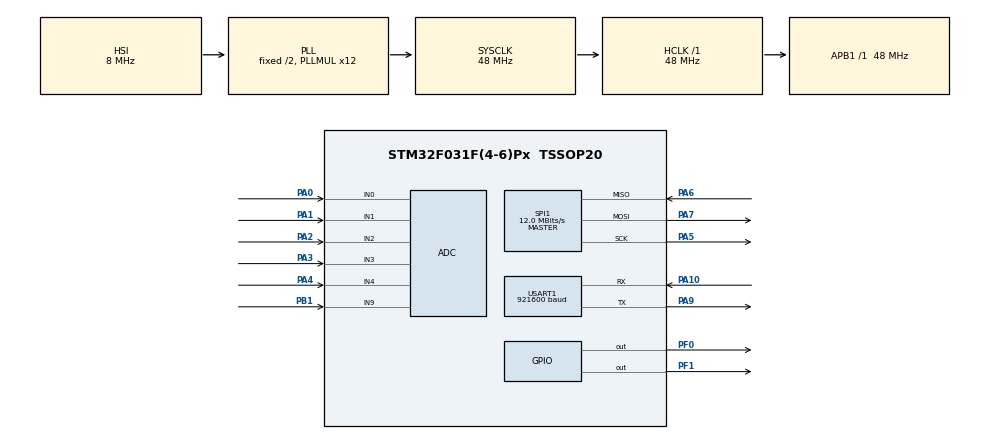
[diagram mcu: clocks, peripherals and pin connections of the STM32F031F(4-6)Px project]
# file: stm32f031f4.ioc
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ADC.ClockPrescaler=ADC_CLOCK_ASYNC
ADC.ContinuousConvMode=ENABLE
ADC.DMAContinuousRequests=ENABLE
ADC.DataAlign=ADC_DATAALIGN_RIGHT
ADC.DiscontinuousConvMode=DISABLE
ADC.EOCSelection=EOC_SINGLE_CONV
ADC.EnableAnalogWatchDog=false
ADC.ExternalTrigConvEdge=ADC_EXTERNALTRIGCONVEDGE_NONE
ADC.LowPowerAutoPowerOff=DISABLE
ADC.LowPowerAutoWait=DISABLE
ADC.Overrun=OVR_DATA_PRESERVED
ADC.Resolution=ADC_RESOLUTION12b
ADC.SamplingTime=ADC_SAMPLETIME_1CYCLE_5
ADC.ScanConvMode=ADC_SCAN_DIRECTION_FORWARD
Dma.ADC.2.Direction=DMA_PERIPH_TO_MEMORY
Dma.ADC.2.Instance=DMA1_Channel1
Dma.ADC.2.MemDataAlignment=DMA_MDATAALIGN_HALFWORD
Dma.ADC.2.MemInc=DMA_MINC_ENABLE
Dma.ADC.2.Mode=DMA_NORMAL
Dma.ADC.2.PeriphDataAlignment=DMA_PDATAALIGN_HALFWORD
Dma.ADC.2.PeriphInc=DMA_PINC_DISABLE
Dma.ADC.2.Priority=DMA_PRIORITY_LOW
Dma.Request0=SPI1_TX
Dma.Request1=USART1_TX
Dma.Request2=ADC
Dma.SPI1_TX.0.Direction=DMA_MEMORY_TO_PERIPH
Dma.SPI1_TX.0.Instance=DMA1_Channel3
Dma.SPI1_TX.0.MemDataAlignment=DMA_MDATAALIGN_BYTE
Dma.SPI1_TX.0.MemInc=DMA_MINC_ENABLE
Dma.SPI1_TX.0.Mode=DMA_NORMAL
Dma.SPI1_TX.0.PeriphDataAlignment=DMA_PDATAALIGN_BYTE
Dma.SPI1_TX.0.PeriphInc=DMA_PINC_DISABLE
Dma.SPI1_TX.0.Priority=DMA_PRIORITY_LOW
Dma.USART1_TX.1.Direction=DMA_MEMORY_TO_PERIPH
Dma.USART1_TX.1.Instance=DMA1_Channel2
Dma.USART1_TX.1.MemDataAlignment=DMA_MDATAALIGN_BYTE
Dma.USART1_TX.1.MemInc=DMA_MINC_ENABLE
Dma.USART1_TX.1.Mode=DMA_NORMAL
Dma.USART1_TX.1.PeriphDataAlignment=DMA_PDATAALIGN_BYTE
Dma.USART1_TX.1.PeriphInc=DMA_PINC_DISABLE
Dma.USART1_TX.1.Priority=DMA_PRIORITY_LOW
Mcu.Family=STM32F0
Mcu.Name=STM32F031F(4-6)Px
Mcu.Package=TSSOP20
NVIC.DMA1_Channel1_IRQn=true\:0\:0\:false
NVIC.DMA1_Channel2_3_IRQn=true\:0\:0\:false
PA0.Mode=IN0
PA0.Signal=ADC_IN0
PA1.Mode=IN1
PA1.Signal=ADC_IN1
PA10.Mode=Asynchronous
PA10.Signal=USART1_RX
PA13.Mode=Serial-WireDebug
PA13.Signal=SYS_SWDIO
PA14.Mode=Serial-WireDebug
PA14.Signal=SYS_SWCLK
PA2.Mode=IN2
PA2.Signal=ADC_IN2
PA3.Mode=IN3
PA3.Signal=ADC_IN3
PA4.Mode=IN4
PA4.Signal=ADC_IN4
PA5.Mode=Full_Duplex_Master
PA5.Signal=SPI1_SCK
PA6.Mode=Full_Duplex_Master
PA6.Signal=SPI1_MISO
PA7.Mode=Full_Duplex_Master
PA7.Signal=SPI1_MOSI
PA9.Mode=Asynchronous
PA9.Signal=USART1_TX
PB1.Mode=IN9
PB1.Signal=ADC_IN9
PF0-OSC_IN.Signal=GPIO_Output
PF1-OSC_OUT.Signal=GPIO_Output
ProjectManager.HeapSize=0x400
ProjectManager.StackSize=0x200
ProjectManager.TargetToolchain=SW4STM32
RCC.AHBFreq_Value=48000000
RCC.APB1Freq_Value=48000000
RCC.APB1TimFreq_Value=48000000
RCC.HCLKFreq_Value=48000000
RCC.PLLMUL=RCC_PLL_MUL12
RCC.SYSCLKFreq_VALUE=48000000
RCC.SYSCLKSource=RCC_SYSCLKSOURCE_PLLCLK
SPI1.BaudRatePrescaler=SPI_BAUDRATEPRESCALER_4
SPI1.CalculateBaudRate=12.0 MBits/s
SPI1.DataSize=SPI_DATASIZE_8BIT
SPI1.Mode=SPI_MODE_MASTER
USART1.BaudRate=921600
VP_ADC_TempSens_Input.Mode=IN-TempSens
VP_ADC_Vbat_Input.Mode=IN-Vbat
VP_ADC_Vref_Input.Mode=IN-Vrefint
board=stm32f031f4

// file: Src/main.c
/**
  ******************************************************************************
  * File Name          : main.c
  * Description        : Main program body
  ******************************************************************************
  *
  * COPYRIGHT(c) 2016 STMicroelectronics
  *
  * Redistribution and use in source and binary forms, with or without modification,
  * are permitted provided that the following conditions are met:
  *   1. Redistributions of source code must retain the above copyright notice,
  *      this list of conditions and the following disclaimer.
  *   2. Redistributions in binary form must reproduce the above copyright notice,
  *      this list of conditions and the following disclaimer in the documentation
  *      and/or other materials provided with the distribution.
  *   3. Neither the name of STMicroelectronics nor the names of its contributors
  *      may be used to endorse or promote products derived from this software
  *      without specific prior written permission.
  *
  * THIS SOFTWARE IS PROVIDED BY THE COPYRIGHT HOLDERS AND CONTRIBUTORS "AS IS"
  * AND ANY EXPRESS OR IMPLIED WARRANTIES, INCLUDING, BUT NOT LIMITED TO, THE
  * IMPLIED WARRANTIES OF MERCHANTABILITY AND FITNESS FOR A PARTICULAR PURPOSE ARE
  * DISCLAIMED. IN NO EVENT SHALL THE COPYRIGHT HOLDER OR CONTRIBUTORS BE LIABLE
  * FOR ANY DIRECT, INDIRECT, INCIDENTAL, SPECIAL, EXEMPLARY, OR CONSEQUENTIAL
  * DAMAGES (INCLUDING, BUT NOT LIMITED TO, PROCUREMENT OF SUBSTITUTE GOODS OR
  * SERVICES; LOSS OF USE, DATA, OR PROFITS; OR BUSINESS INTERRUPTION) HOWEVER
  * CAUSED AND ON ANY THEORY OF LIABILITY, WHETHER IN CONTRACT, STRICT LIABILITY,
  * OR TORT (INCLUDING NEGLIGENCE OR OTHERWISE) ARISING IN ANY WAY OUT OF THE USE
  * OF THIS SOFTWARE, EVEN IF ADVISED OF THE POSSIBILITY OF SUCH DAMAGE.
  *
  ******************************************************************************
  */
#include "stm32f0xx_hal.h"

/* USER CODE BEGIN Includes */

#define LEDS_COUNT 40
#define BITS_PER_SUBCOLOR 8
#define BITS_PER_COLOR (BITS_PER_SUBCOLOR*3)

/* USER CODE END Includes */

ADC_HandleTypeDef hadc;
DMA_HandleTypeDef hdma_adc;

SPI_HandleTypeDef hspi1;
DMA_HandleTypeDef hdma_spi1_tx;

UART_HandleTypeDef huart1;
DMA_HandleTypeDef hdma_usart1_tx;

/* USER CODE BEGIN PV */
/* Private variables ---------------------------------------------------------*/

/* USER CODE END PV */

void SystemClock_Config(void);
static void MX_GPIO_Init(void);
static void MX_DMA_Init(void);
static void MX_ADC_Init(void);
static void MX_SPI1_Init(void);
static void MX_USART1_UART_Init(void);

/* USER CODE BEGIN PFP */
/* Private function prototypes -----------------------------------------------*/

// Set only one subcolor
void gen_cmd_setc(uint8_t *buf, char c)
{
	uint8_t  b = 1;
	uint8_t *p = &buf[BITS_PER_SUBCOLOR-1];
	while (b) {
		*p = c&b ? 14 : 8;	// 2016-07-05: DYOkunev: Why "14" and "8"? I have no idea! Ask AMGladtsin ;)
					// 2016-07-06: AMGlatsin: 14 and 8 (0b1110 (---_) and 0b1000 (-___) ) - to generate "Diode bits" - connect logger analyzer and read the manual for WS2812B :P
		p--;
		b <<= 1;
	}
	return;
}

// Sets three subcolors to buf
void gen_cmd_setrgb(uint8_t *buf, char r, char g, char b)
{
	gen_cmd_setc( buf,                      r);
	gen_cmd_setc(&buf[  BITS_PER_SUBCOLOR], g);
	gen_cmd_setc(&buf[2*BITS_PER_SUBCOLOR], b);
	return;
}

/* USER CODE END PFP */

int main(void)
{

  /* MCU Configuration----------------------------------------------------------*/

  /* Reset of all peripherals, Initializes the Flash interface and the Systick. */
  HAL_Init();

  /* Configure the system clock */
  SystemClock_Config();

  /* Initialize all configured peripherals */
  MX_GPIO_Init();
  MX_DMA_Init();
  MX_ADC_Init();
  MX_SPI1_Init();
  MX_USART1_UART_Init();

  /* Infinite loop */
  /* USER CODE BEGIN WHILE */
	uint8_t cmd[LEDS_COUNT][BITS_PER_COLOR];

	while (1)
	{
		int r = HAL_SPI_Transmit_DMA(&hspi1, (uint8_t *)cmd, sizeof(cmd));
		if (r != HAL_OK) {
			// TODO: process error
		}
	}

  /* USER CODE END WHILE */

}

/** System Clock Configuration
*/
void SystemClock_Config(void)
{

  RCC_OscInitTypeDef RCC_OscInitStruct;
  RCC_ClkInitTypeDef RCC_ClkInitStruct;
  RCC_PeriphCLKInitTypeDef PeriphClkInit;

  RCC_OscInitStruct.OscillatorType = RCC_OSCILLATORTYPE_HSI|RCC_OSCILLATORTYPE_HSI14;
  RCC_OscInitStruct.HSIState = RCC_HSI_ON;
  RCC_OscInitStruct.HSI14State = RCC_HSI14_ON;
  RCC_OscInitStruct.HSICalibrationValue = 16;
  RCC_OscInitStruct.HSI14CalibrationValue = 16;
  RCC_OscInitStruct.PLL.PLLState = RCC_PLL_ON;
  RCC_OscInitStruct.PLL.PLLSource = RCC_PLLSOURCE_HSI;
  RCC_OscInitStruct.PLL.PLLMUL = RCC_PLL_MUL12;
  RCC_OscInitStruct.PLL.PREDIV = RCC_PREDIV_DIV1;
  HAL_RCC_OscConfig(&RCC_OscInitStruct);

  RCC_ClkInitStruct.ClockType = RCC_CLOCKTYPE_HCLK|RCC_CLOCKTYPE_SYSCLK
                              |RCC_CLOCKTYPE_PCLK1;
  RCC_ClkInitStruct.SYSCLKSource = RCC_SYSCLKSOURCE_PLLCLK;
  RCC_ClkInitStruct.AHBCLKDivider = RCC_SYSCLK_DIV1;
  RCC_ClkInitStruct.APB1CLKDivider = RCC_HCLK_DIV1;
  HAL_RCC_ClockConfig(&RCC_ClkInitStruct, FLASH_LATENCY_1);

  PeriphClkInit.PeriphClockSelection = RCC_PERIPHCLK_USART1;
  PeriphClkInit.Usart1ClockSelection = RCC_USART1CLKSOURCE_PCLK1;
  HAL_RCCEx_PeriphCLKConfig(&PeriphClkInit);

  HAL_SYSTICK_Config(HAL_RCC_GetHCLKFreq()/1000);

  HAL_SYSTICK_CLKSourceConfig(SYSTICK_CLKSOURCE_HCLK);

  /* SysTick_IRQn interrupt configuration */
  HAL_NVIC_SetPriority(SysTick_IRQn, 0, 0);
}

/* ADC init function */
void MX_ADC_Init(void)
{

  ADC_ChannelConfTypeDef sConfig;

    /**Configure the global features of the ADC (Clock, Resolution, Data Alignment and number of conversion)
    */
  hadc.Instance = ADC1;
  hadc.Init.ClockPrescaler = ADC_CLOCK_ASYNC;
  hadc.Init.Resolution = ADC_RESOLUTION12b;
  hadc.Init.DataAlign = ADC_DATAALIGN_RIGHT;
  hadc.Init.ScanConvMode = ADC_SCAN_DIRECTION_FORWARD;
  hadc.Init.EOCSelection = EOC_SINGLE_CONV;
  hadc.Init.LowPowerAutoWait = DISABLE;
  hadc.Init.LowPowerAutoPowerOff = DISABLE;
  hadc.Init.ContinuousConvMode = ENABLE;
  hadc.Init.DiscontinuousConvMode = DISABLE;
  hadc.Init.ExternalTrigConvEdge = ADC_EXTERNALTRIGCONVEDGE_NONE;
  hadc.Init.DMAContinuousRequests = ENABLE;
  hadc.Init.Overrun = OVR_DATA_PRESERVED;
  HAL_ADC_Init(&hadc);

    /**Configure for the selected ADC regular channel to be converted.
    */
  sConfig.Channel = ADC_CHANNEL_0;
  sConfig.Rank = ADC_RANK_CHANNEL_NUMBER;
  sConfig.SamplingTime = ADC_SAMPLETIME_1CYCLE_5;
  HAL_ADC_ConfigChannel(&hadc, &sConfig);

    /**Configure for the selected ADC regular channel to be converted.
    */
  sConfig.Channel = ADC_CHANNEL_1;
  HAL_ADC_ConfigChannel(&hadc, &sConfig);

    /**Configure for the selected ADC regular channel to be converted.
    */
  sConfig.Channel = ADC_CHANNEL_2;
  HAL_ADC_ConfigChannel(&hadc, &sConfig);

    /**Configure for the selected ADC regular channel to be converted.
    */
  sConfig.Channel = ADC_CHANNEL_3;
  HAL_ADC_ConfigChannel(&hadc, &sConfig);

    /**Configure for the selected ADC regular channel to be converted.
    */
  sConfig.Channel = ADC_CHANNEL_4;
  HAL_ADC_ConfigChannel(&hadc, &sConfig);

    /**Configure for the selected ADC regular channel to be converted.
    */
  sConfig.Channel = ADC_CHANNEL_9;
  HAL_ADC_ConfigChannel(&hadc, &sConfig);

    /**Configure for the selected ADC regular channel to be converted.
    */
  sConfig.Channel = ADC_CHANNEL_TEMPSENSOR;
  HAL_ADC_ConfigChannel(&hadc, &sConfig);

    /**Configure for the selected ADC regular channel to be converted.
    */
  sConfig.Channel = ADC_CHANNEL_VREFINT;
  HAL_ADC_ConfigChannel(&hadc, &sConfig);

    /**Configure for the selected ADC regular channel to be converted.
    */
  sConfig.Channel = ADC_CHANNEL_VBAT;
  HAL_ADC_ConfigChannel(&hadc, &sConfig);

}

/* SPI1 init function */
void MX_SPI1_Init(void)
{

  hspi1.Instance = SPI1;
  hspi1.Init.Mode = SPI_MODE_MASTER;
  hspi1.Init.Direction = SPI_DIRECTION_2LINES;
  hspi1.Init.DataSize = SPI_DATASIZE_8BIT;
  hspi1.Init.CLKPolarity = SPI_POLARITY_LOW;
  hspi1.Init.CLKPhase = SPI_PHASE_1EDGE;
  hspi1.Init.NSS = SPI_NSS_SOFT;
  hspi1.Init.BaudRatePrescaler = SPI_BAUDRATEPRESCALER_4;
  hspi1.Init.FirstBit = SPI_FIRSTBIT_MSB;
  hspi1.Init.TIMode = SPI_TIMODE_DISABLED;
  hspi1.Init.CRCCalculation = SPI_CRCCALCULATION_DISABLED;
  hspi1.Init.CRCPolynomial = 7;
  hspi1.Init.CRCLength = SPI_CRC_LENGTH_DATASIZE;
  hspi1.Init.NSSPMode = SPI_NSS_PULSE_ENABLED;
  HAL_SPI_Init(&hspi1);

}

/* USART1 init function */
void MX_USART1_UART_Init(void)
{

  huart1.Instance = USART1;
  huart1.Init.BaudRate = 921600;
  huart1.Init.WordLength = UART_WORDLENGTH_8B;
  huart1.Init.StopBits = UART_STOPBITS_1;
  huart1.Init.Parity = UART_PARITY_NONE;
  huart1.Init.Mode = UART_MODE_TX_RX;
  huart1.Init.HwFlowCtl = UART_HWCONTROL_NONE;
  huart1.Init.OverSampling = UART_OVERSAMPLING_16;
  huart1.Init.OneBitSampling = UART_ONEBIT_SAMPLING_DISABLED ;
  huart1.AdvancedInit.AdvFeatureInit = UART_ADVFEATURE_NO_INIT;
  HAL_UART_Init(&huart1);

}

void MX_DMA_Init(void)
{
  /* DMA controller clock enable */
  __DMA1_CLK_ENABLE();

  /* DMA interrupt init */
  HAL_NVIC_SetPriority(DMA1_Channel1_IRQn, 0, 0);
  HAL_NVIC_EnableIRQ(DMA1_Channel1_IRQn);
  HAL_NVIC_SetPriority(DMA1_Channel2_3_IRQn, 0, 0);
  HAL_NVIC_EnableIRQ(DMA1_Channel2_3_IRQn);

}

/** Configure pins as
        * Analog
        * Input
        * Output
        * EVENT_OUT
        * EXTI
*/
void MX_GPIO_Init(void)
{

  GPIO_InitTypeDef GPIO_InitStruct;

  /* GPIO Ports Clock Enable */
  __GPIOF_CLK_ENABLE();
  __GPIOA_CLK_ENABLE();
  __GPIOB_CLK_ENABLE();

  /*Configure GPIO pin Output Level */
  HAL_GPIO_WritePin(GPIOF, GPIO_PIN_0|GPIO_PIN_1, GPIO_PIN_RESET);

  /*Configure GPIO pins : PF0 PF1 */
  GPIO_InitStruct.Pin = GPIO_PIN_0|GPIO_PIN_1;
  GPIO_InitStruct.Mode = GPIO_MODE_OUTPUT_PP;
  GPIO_InitStruct.Pull = GPIO_NOPULL;
  GPIO_InitStruct.Speed = GPIO_SPEED_LOW;
  HAL_GPIO_Init(GPIOF, &GPIO_InitStruct);

}

/************************ (C) COPYRIGHT STMicroelectronics *****END OF FILE****/
